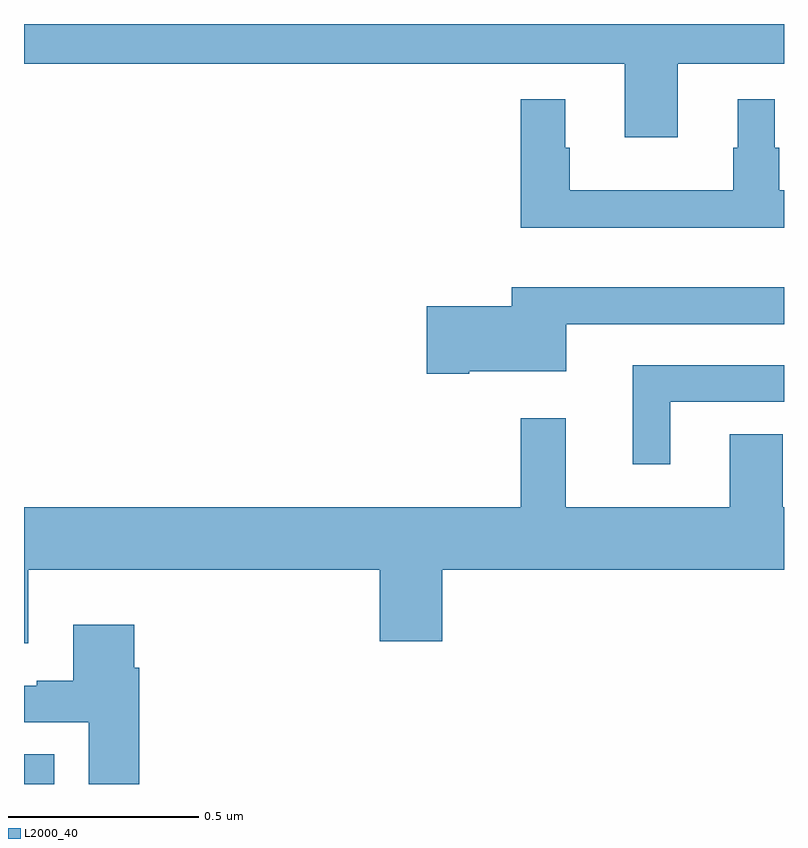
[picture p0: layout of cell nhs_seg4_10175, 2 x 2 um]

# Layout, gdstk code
import gdstk
lib = gdstk.Library(unit=1e-6, precision=1e-09)
def R(c, l, rs):  # rectangles x0, y0, x1, y1
    for r in rs: c.add(gdstk.rectangle(r[:2], r[2:], *l))
def P(c, l, *ps):  # polygons
    for p in ps: c.add(gdstk.Polygon(p, *l))
L2000_40 = (2000, 40)

nhs_seg4_10175 = lib.new_cell('nhs_seg4_10175')
R(nhs_seg4_10175, L2000_40, [(236,818.9,236.08,818.978)])
P(nhs_seg4_10175, L2000_40, [(237.721,820.796),(238,820.796),(238,820.9),(236,820.9),(236,820.796),(237.581,820.796),(237.581,820.602),(237.721,820.602)],
  [(238,820.462),(237.988,820.462),(237.988,820.574),(237.976,820.574),(237.976,820.702),(237.878,820.702),(237.878,820.574),(237.867,820.574),(237.867,820.462),(237.436,820.462),(237.436,820.574),(237.424,820.574),(237.424,820.702),(237.307,820.702),(237.307,820.364),(238,820.364)],
  [(237.172,819.986),(237.427,819.986),(237.427,820.11),(238,820.11),(238,820.207),(237.284,820.207),(237.284,820.157),(237.06,820.157),(237.06,819.979),(237.172,819.979)],
  [(237.7,819.906),(238,819.906),(238,820.002),(237.602,820.002),(237.602,819.741),(237.7,819.741)],
  [(236.011,819.464),(236.936,819.464),(236.936,819.276),(237.1,819.276),(237.1,819.464),(238,819.464),(238,819.628),(237.997,819.628),(237.997,819.821),(237.857,819.821),(237.857,819.628),(237.425,819.628),(237.425,819.862),(237.307,819.862),(237.307,819.628),(236,819.628),(236,819.27),(236.011,819.27)],
  [(236.303,819.206),(236.29,819.206),(236.29,819.319),(236.129,819.319),(236.129,819.172),(236.033,819.172),(236.033,819.159),(236,819.159),(236,819.063),(236.171,819.063),(236.171,818.9),(236.303,818.9)])

lib.write_gds('nhs_seg4_10175.gds')
